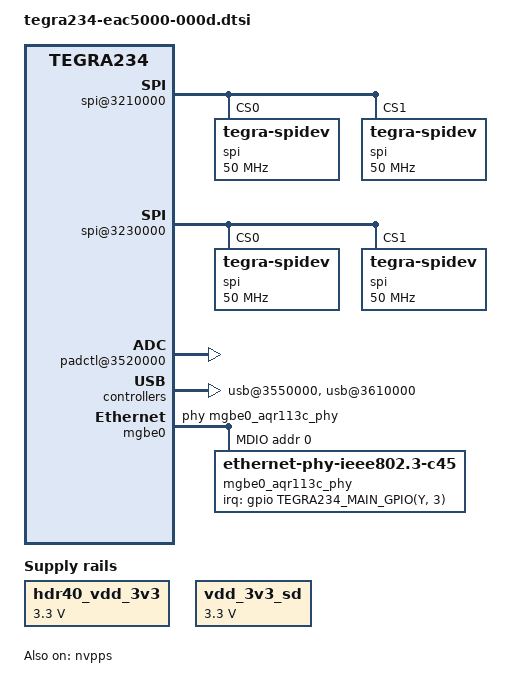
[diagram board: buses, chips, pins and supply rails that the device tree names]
// SPDX-License-Identifier: GPL-2.0-only
// SPDX-FileCopyrightText: Copyright (c) 2022-2024, NVIDIA CORPORATION & AFFILIATES.  All rights reserved.

/ {
	bus@0 {
		spi@3210000{ /* SPI1 in 40 pin conn */
			status = "okay";
			spi@0 { /* chip select 0 */
				compatible = "tegra-spidev";
				reg = <0x0>;
				spi-max-frequency = <50000000>;
			};
			spi@1 { /* chips select 1 */
				compatible = "tegra-spidev";
				reg = <0x1>;
				spi-max-frequency = <50000000>;
			};
		};

		spi@3230000{ /* SPI3 in 40 pin conn */
			status = "okay";
			spi@0 { /* chip select 0 */
				compatible = "tegra-spidev";
				reg = <0x0>;
				spi-max-frequency = <50000000>;
			};
			spi@1 { /* chips select 1 */
				compatible = "tegra-spidev";
				reg = <0x1>;
				spi-max-frequency = <50000000>;
			};
		};

		mmc@3400000 {
			vmmc-supply = <&vdd_3v3_sd>;
		};

		padctl@3520000 {
			status = "okay";

			pads {
				usb3 {
					lanes {
						usb3-0 {
							nvidia,function = "xusb";
							status = "okay";
						};

						usb3-1 {
							nvidia,function = "xusb";
							status = "okay";
						};

						usb3-2 {
							nvidia,function = "xusb";
							status = "okay";
						};
					};
				};
			};

			ports {
				/* recovery port */
				usb2-0 {
					mode = "peripheral";
					usb-role-switch;
					status = "okay";
					connector {
						compatible = "usb-b-connector\0gpio-usb-b-connector";
						label = "micro-USB";
						type = "micro";
						cable-connected-on-boot = <0x00>;
					};
				};

				usb2-1 {
					mode = "host";
					status = "okay";
				};

				usb2-2 {
					mode = "host";
					status = "okay";
				};

				usb2-3 {
					mode = "host";
					status = "okay";
				};

				/* Backend usb */
				usb3-0 {
					nvidia,usb2-companion = <0>;
					status = "disabled";
				};

				/* Frontend usb */
				usb3-1 {
					nvidia,usb2-companion = <1>;
					status = "okay";
				};

				usb3-2 {
					nvidia,usb2-companion = <3>;
					status = "okay";
				};
			};
		};

		usb@3550000 {
			status = "okay";

			phys = <&{/bus@0/padctl@3520000/pads/usb2/lanes/usb2-0}>;
			phy-names = "usb2-0";
		};

		usb@3610000 {
			status = "okay";

			phys = <&{/bus@0/padctl@3520000/pads/usb2/lanes/usb2-0}>,
				<&{/bus@0/padctl@3520000/pads/usb2/lanes/usb2-1}>,
				<&{/bus@0/padctl@3520000/pads/usb2/lanes/usb2-2}>,
				<&{/bus@0/padctl@3520000/pads/usb2/lanes/usb2-3}>,
				<&{/bus@0/padctl@3520000/pads/usb3/lanes/usb3-1}>,
				<&{/bus@0/padctl@3520000/pads/usb3/lanes/usb3-2}>;
			phy-names = "usb2-0", "usb2-1", "usb2-2", "usb2-3", "usb3-1", "usb3-2";
		};

		aconnect@2900000 {
			ahub@2900800 {
				i2s@2901100 {
					ports {
						port@1 {
							hdr40_snd_i2s_dap_ep: endpoint {
							};
						};
					};
				};
			};
		};

		mgbe0: ethernet@6800000 {
			nvidia,mac-addr-idx = <0>;
			nvidia,max-platform-mtu = <16383>;
			/* 1=enable, 0=disable */
			nvidia,pause_frames = <1>;
			phy-handle = <&mgbe0_aqr113c_phy>;
			/* 0:XFI 10G, 1:XFI 5G, 2:USXGMII 10G, 3:USXGMII 5G */
			nvidia,phy-iface-mode = <0>;
			nvidia,phy-reset-gpio = <&gpio TEGRA234_MAIN_GPIO(Y, 1) 0>;
			nvidia,mdio_addr = <0>;

			mdio {
				compatible = "nvidia,eqos-mdio";
				#address-cells = <1>;
				#size-cells = <0>;

				mgbe0_aqr113c_phy: phy@0 {
					compatible = "ethernet-phy-ieee802.3-c45";
					reg = <0x0>;
					nvidia,phy-rst-pdelay-msec = <150>; /* msec */
					nvidia,phy-rst-duration-usec = <221000>; /* usec */
					interrupt-parent = <&gpio>;
					interrupts = <TEGRA234_MAIN_GPIO(Y, 3) IRQ_TYPE_LEVEL_LOW>;
				};
			};
		};

		nvpps {
			status = "okay";
			compatible = "nvidia,tegra234-nvpps";
			primary-emac = <&mgbe0>;
			sec-emac = <&mgbe0>;
			reg = <0x0 0xc6a0000 0x0 0x1000>;
		};
	};

	hdr40_vdd_3v3: regulator@3 {
		compatible = "regulator-fixed";
		reg = <3>;
		regulator-name = "vdd-3v3-sys";
		regulator-min-microvolt = <3300000>;
		regulator-max-microvolt = <3300000>;
	};

	tegra_sound_graph: tegra_sound: sound {
		compatible = "nvidia,tegra186-audio-graph-card",
			     "nvidia,tegra186-ape";
		clocks = <&bpmp TEGRA234_CLK_PLLA>,
			 <&bpmp TEGRA234_CLK_PLLA_OUT0>,
			 <&bpmp TEGRA234_CLK_AUD_MCLK>;
		clock-names = "pll_a", "plla_out0", "extern1";
		assigned-clocks = <&bpmp TEGRA234_CLK_AUD_MCLK>;
		assigned-clock-parents = <&bpmp TEGRA234_CLK_PLLA_OUT0>;

		nvidia-audio-card,name = "NVIDIA Jetson AGX Orin APE";

		nvidia-audio-card,mclk-fs = <256>;

		hdr40_snd_link_i2s: nvidia-audio-card,dai-link@77 { };
	};

	eeprom-manager {
		data-size = <0x100>;
		bus@0 {
			i2c-bus = <&gen1_i2c>;
			eeprom@1 {
				slave-address = <0x56>;
				label = "cvb";
			};
		};
		bus@1 {
			i2c-bus = <&cam_i2c>;
			eeprom@0 {
				slave-address = <0x54>;
				label = "sensor0";
			};
			eeprom@1 {
				slave-address = <0x57>;
				label = "sensor1";
			};
			eeprom@2 {
				slave-address = <0x52>;
				label = "sensor2";
			};
		};
	};

	vdd_3v3_sd: regulator-vdd-3v3-sd {
			compatible = "regulator-fixed";
			regulator-name = "VDD_3V3_SD";
			regulator-min-microvolt = <3300000>;
			regulator-max-microvolt = <3300000>;
			enable-active-high;
	};
};
